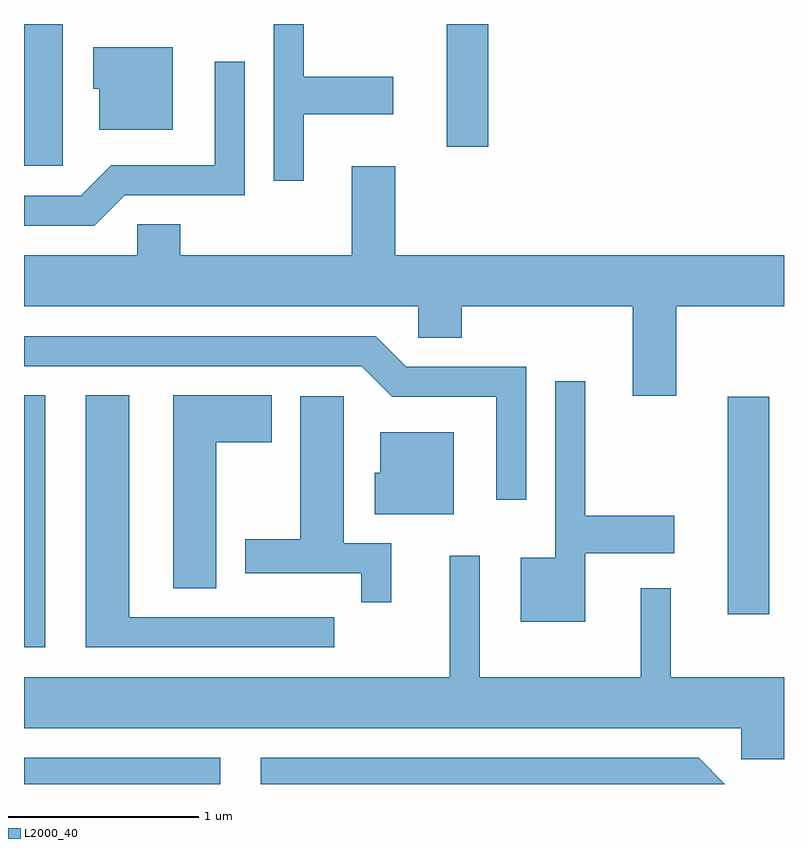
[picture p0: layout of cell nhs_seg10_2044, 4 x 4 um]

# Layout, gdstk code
import gdstk
lib = gdstk.Library(unit=1e-6, precision=1e-09)
def R(c, l, rs):  # rectangles x0, y0, x1, y1
    for r in rs: c.add(gdstk.rectangle(r[:2], r[2:], *l))
def P(c, l, *ps):  # polygons
    for p in ps: c.add(gdstk.Polygon(p, *l))
L2000_40 = (2000, 40)

nhs_seg10_2044 = lib.new_cell('nhs_seg10_2044')
R(nhs_seg10_2044, L2000_40, [(245.611,2102.522,246.644,2102.659), (245.611,2103.241,245.724,2104.569), (249.316,2103.416,249.534,2104.559), (245.611,2105.776,245.814,2106.522), (247.836,2105.876,248.054,2106.522)])
P(nhs_seg10_2044, L2000_40, [(247.084,2106.046),(247.554,2106.046),(247.554,2106.244),(247.084,2106.244),(247.084,2106.522),(246.926,2106.522),(246.926,2105.698),(247.084,2105.698)],
  [(246.394,2106.399),(245.976,2106.399),(245.976,2106.181),(246.006,2106.181),(246.006,2105.966),(246.394,2105.966)],
  [(246.142,2105.621),(246.774,2105.621),(246.774,2106.323),(246.616,2106.323),(246.616,2105.779),(246.069,2105.779),(245.909,2105.619),(245.611,2105.619),(245.611,2105.461),(245.982,2105.461)],
  [(249.044,2105.036),(249.611,2105.036),(249.611,2105.304),(247.564,2105.304),(247.564,2105.774),(247.336,2105.774),(247.336,2105.304),(246.434,2105.304),(246.434,2105.469),(246.206,2105.469),(246.206,2105.304),(245.611,2105.304),(245.611,2105.036),(247.686,2105.036),(247.686,2104.871),(247.914,2104.871),(247.914,2105.036),(248.816,2105.036),(248.816,2104.566),(249.044,2104.566)],
  [(248.254,2104.719),(247.622,2104.719),(247.462,2104.879),(245.611,2104.879),(245.611,2104.721),(247.389,2104.721),(247.549,2104.561),(248.096,2104.561),(248.096,2104.018),(248.254,2104.018)],
  [(248.564,2103.736),(249.034,2103.736),(249.034,2103.934),(248.564,2103.934),(248.564,2104.643),(248.406,2104.643),(248.406,2103.714),(248.226,2103.714),(248.226,2103.376),(248.564,2103.376)],
  [(247.243,2103.399),(246.164,2103.399),(246.164,2104.569),(245.936,2104.569),(245.936,2103.241),(247.243,2103.241)],
  [(246.624,2104.321),(246.914,2104.321),(246.914,2104.569),(246.396,2104.569),(246.396,2103.551),(246.624,2103.551)],
  [(247.544,2103.789),(247.294,2103.789),(247.294,2104.564),(247.066,2104.564),(247.066,2103.809),(246.776,2103.809),(246.776,2103.631),(247.386,2103.631),(247.386,2103.478),(247.544,2103.478)],
  [(247.874,2104.374),(247.486,2104.374),(247.486,2104.159),(247.456,2104.159),(247.456,2103.941),(247.874,2103.941)],
  [(249.611,2103.084),(249.014,2103.084),(249.014,2103.553),(248.856,2103.553),(248.856,2103.084),(248.009,2103.084),(248.009,2103.723),(247.851,2103.723),(247.851,2103.084),(245.611,2103.084),(245.611,2102.816),(249.386,2102.816),(249.386,2102.651),(249.611,2102.651)],
  [(249.162,2102.659),(246.856,2102.659),(246.856,2102.522),(249.299,2102.522)])

lib.write_gds('nhs_seg10_2044.gds')
